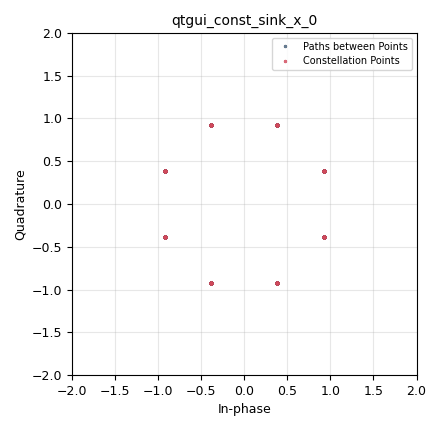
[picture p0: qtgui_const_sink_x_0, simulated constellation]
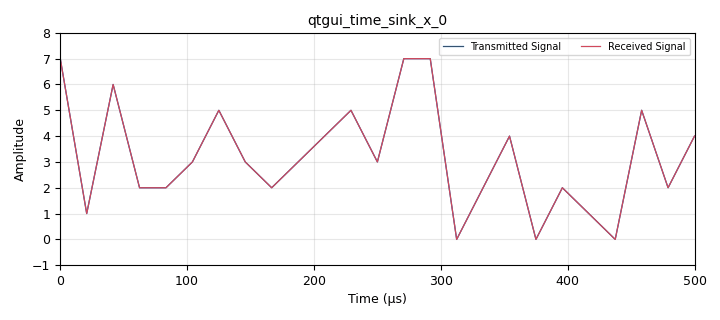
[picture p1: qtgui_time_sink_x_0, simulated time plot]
options:
  parameters:
    author: Gary Schafer
    generate_options: qt_gui
    id: psk8_modulator_differential
    output_language: python
    title: 8PSK Modulator / Demodulator with Differential Encoding
  states: {}

blocks:
- name: A
  id: variable
  parameters:
    comment: 'Value: np.cos(np.pi/8)'
    value: np.cos(np.pi/8)
  states: {}
- name: B
  id: variable
  parameters:
    comment: 'Value: np.sin(np.pi/8)'
    value: np.sin(np.pi/8)
  states: {}
- name: psk_default
  id: variable_constellation
  parameters:
    comment: |-
      Constellation Type: Variable Constellation
      Symbol Map: Doesn't matter since its not
                                 used on the receive side.
      Constellation Points: [-A+B*1j,-A-B*1j,-B-A*1j,B-A*1j,A-B*1j,A+B*1j,B+A*1j,-B+A*1j]
    const_points: '[-A+B*1j,-A-B*1j,-B-A*1j,B-A*1j,A-B*1j,A+B*1j,B+A*1j,-B+A*1j]'
    dims: '1'
    normalization: digital.constellation.AMPLITUDE_NORMALIZATION
    precision: '8'
    rot_sym: '4'
    sym_map: '[0,1,2,3,4,5,6,7]'
    type: calcdist
  states: {}
- name: psk_map
  id: variable
  parameters:
    comment: 'Value: [A+B*1j,B+A*1j,-B+A*1j,-A+B*1j,-A-B*1j,-B-A*1j,B-A*1j,A-B*1j]'
    value: '[A+B*1j,B+A*1j,-B+A*1j,-A+B*1j,-A-B*1j,-B-A*1j,B-A*1j,A-B*1j]'
  states: {}
- name: samp_rate
  id: variable
  parameters:
    value: '48000'
  states: {}
- name: analog_random_source_x_0
  id: analog_random_source_x
  parameters:
    max: '8'
    min: '0'
    num_samps: '1000'
    repeat: 'True'
    type: byte
  states: {}
- name: blocks_char_to_float_0
  id: blocks_char_to_float
  parameters:
    scale: '1'
  states: {}
- name: blocks_char_to_float_0_0
  id: blocks_char_to_float
  parameters:
    scale: '1'
  states: {}
- name: blocks_multiply_const_vxx_0
  id: blocks_multiply_const_vxx
  parameters:
    comment: |-
      Rotation of the transmitted
      constellation by +90 degrees
      (pi/2 radians) in order to
      demonstrate differential
      encoding.
      -----------
      Constant: 1j
    const: 1j
    type: complex
  states: {}
- name: blocks_throttle_0
  id: blocks_throttle
  parameters:
    samples_per_second: samp_rate
    type: byte
  states: {}
- name: digital_chunks_to_symbols_xx_0
  id: digital_chunks_to_symbols_xx
  parameters:
    comment: |-
      Transmitter
      -----------------
      Input Type: byte
      Output Type: complex
      Symbol Table: psk_map
    dimension: '1'
    in_type: byte
    out_type: complex
    symbol_table: psk_map
  states: {}
- name: digital_constellation_decoder_cb_0
  id: digital_constellation_decoder_cb
  parameters:
    comment: |-
      Receiver
      -------------
      Constellation Object: psk_default
    constellation: psk_default
  states: {}
- name: digital_diff_decoder_bb_0
  id: digital_diff_decoder_bb
  parameters:
    coding: digital.DIFF_DIFFERENTIAL
    modulus: '8'
  states: {}
- name: digital_diff_encoder_bb_0
  id: digital_diff_encoder_bb
  parameters:
    coding: digital.DIFF_DIFFERENTIAL
    modulus: '8'
  states: {}
- name: digital_map_bb_0
  id: digital_map_bb
  parameters:
    comment: 'Map: [0,4,5,1,3,7,6,2]'
    map: '[0,4,5,1,3,7,6,2]'
  states: {}
- name: digital_map_bb_0_0
  id: digital_map_bb
  parameters:
    comment: 'Map: [0,3,7,4,1,2,6,5]'
    map: '[0,3,7,4,1,2,6,5]'
  states: {}
- name: import_0
  id: import
  parameters:
    comment: import numpy as np
    imports: import numpy as np
  states: {}
- name: qtgui_const_sink_x_0
  id: qtgui_const_sink_x
  parameters:
    grid: 'True'
    label1: Paths between Points
    label2: Constellation Points
    marker1: '-1'
    nconnections: '2'
    size: '1024'
    style1: '1'
    type: complex
    width2: '10'
  states: {}
- name: qtgui_time_sink_x_0
  id: qtgui_time_sink_x
  parameters:
    label1: Transmitted Signal
    label2: Received Signal
    nconnections: '2'
    size: '25'
    srate: samp_rate
    type: float
    ymax: '8'
  states: {}

connections:
- [analog_random_source_x_0, '0', blocks_char_to_float_0_0, '0']
- [analog_random_source_x_0, '0', blocks_throttle_0, '0']
- [blocks_char_to_float_0, '0', qtgui_time_sink_x_0, '0']
- [blocks_char_to_float_0_0, '0', qtgui_time_sink_x_0, '1']
- [blocks_multiply_const_vxx_0, '0', digital_constellation_decoder_cb_0, '0']
- [blocks_multiply_const_vxx_0, '0', qtgui_const_sink_x_0, '0']
- [blocks_multiply_const_vxx_0, '0', qtgui_const_sink_x_0, '1']
- [blocks_throttle_0, '0', digital_map_bb_0_0, '0']
- [digital_chunks_to_symbols_xx_0, '0', blocks_multiply_const_vxx_0, '0']
- [digital_constellation_decoder_cb_0, '0', digital_diff_decoder_bb_0, '0']
- [digital_diff_decoder_bb_0, '0', digital_map_bb_0, '0']
- [digital_diff_encoder_bb_0, '0', digital_chunks_to_symbols_xx_0, '0']
- [digital_map_bb_0, '0', blocks_char_to_float_0, '0']
- [digital_map_bb_0_0, '0', digital_diff_encoder_bb_0, '0']

metadata:
  file_format: 1
